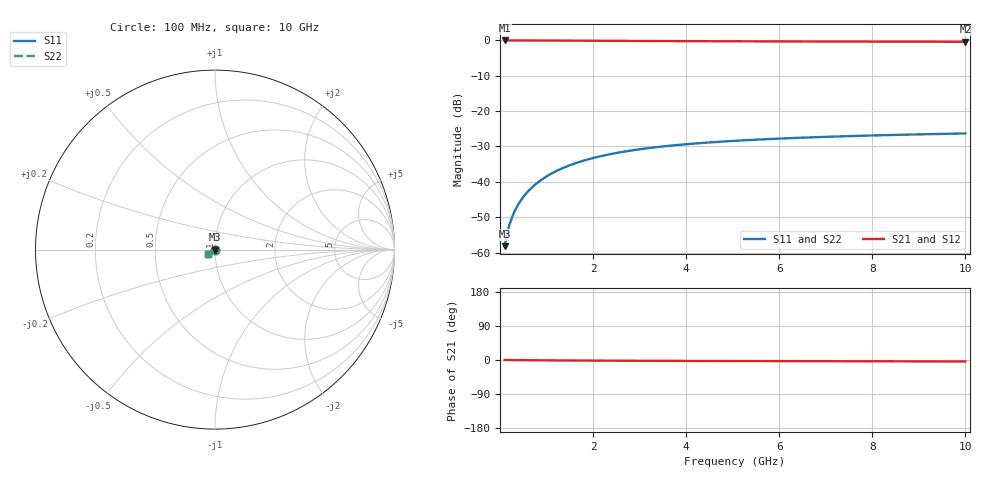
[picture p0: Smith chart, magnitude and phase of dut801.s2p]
! Touchstone file exported from HFSS 2024.1.0
!  File:  C:/UserFiles/LocalFiles/RDL_TSV_Batchsim/temp_TSV1_801_1779876513.aedt
!  Generated:  06:14:13 PM May 27, 2026
!  Design:  TSV1
!  Project:  temp_TSV1_801_1779876513
!  Setup:  Setup1
!  Solution:  Sweep
! Variables:
!  dtsv = 13.91um
!  hbump = 3um
!  htsv = 54.11um
!  lrdl = 252.1521522um
!  p = 40
!  p1 = 40.97um
!  t = 500um
!  trdl = 3um
!  wrdl = 24.89489489um
# GHz S MA R 50.000000
! Terminal data exported
! Port[1] = TSV22_T1
! Port[2] = TSV22_T2
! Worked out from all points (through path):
!   100 points, 100 MHz to 10 GHz, reference 50 ohm
!   highest |S21| = 0.00 dB at 100 MHz (marker M1); lowest = -0.4 dB at 10 GHz (marker M2)
!   lowest |S11| = -58.2 dB at 100 MHz (marker M3), VSWR 1.00, Z = 50 - j0.123 ohm
!   |S11| at or under -10 dB: start of sweep to end of sweep
!   |S22| runs from -58.2 to -26.3 dB; largest |S21 - S12| = 5e-15
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0.1  0.001229 -88.1  0.9999 -0.1  0.9999 -0.1  0.001229 -88.1
! Gamma 0 0 0 0
! Port Impedance 50 0 50 0
0.2  0.002456 -91.3  0.9998 -0.2  0.9998 -0.2  0.002456 -91.3
0.3  0.00368 -93.4  0.9996 -0.3  0.9996 -0.3  0.00368 -93.4
0.4  0.0049 -95.1  0.9994 -0.4  0.9994 -0.4  0.0049 -95.1
0.5  0.00611 -96.7  0.9991 -0.5  0.9991 -0.5  0.00611 -96.7
0.6  0.007307 -98.2  0.9988 -0.6  0.9988 -0.6  0.007307 -98.2
0.7  0.008489 -99.6  0.9984 -0.7  0.9984 -0.7  0.008489 -99.6
0.8  0.009652 -101.0  0.998 -0.7  0.998 -0.7  0.009652 -101.0
0.9  0.01079 -102.4  0.9975 -0.8  0.9975 -0.8  0.01079 -102.4
1.1  0.01301 -105.0  0.9964 -1.0  0.9964 -1.0  0.01301 -105.0
1.4  0.01615 -108.8  0.9946 -1.2  0.9946 -1.2  0.01615 -108.8
1.6  0.01811 -111.1  0.9932 -1.4  0.9932 -1.4  0.01811 -111.1
1.8  0.01996 -113.4  0.9918 -1.5  0.9918 -1.5  0.01996 -113.4
2.1  0.02252 -116.5  0.9897 -1.7  0.9897 -1.7  0.02252 -116.5
2.5  0.02557 -120.2  0.9869 -1.9  0.9869 -1.9  0.02557 -120.2
2.9  0.02824 -123.6  0.9842 -2.0  0.9842 -2.0  0.02824 -123.6
3.4  0.03112 -127.2  0.9811 -2.2  0.9811 -2.2  0.03112 -127.2
4.2  0.03487 -131.9  0.9767 -2.5  0.9767 -2.5  0.03487 -131.9
5.1  0.0382 -136.0  0.9725 -2.7  0.9725 -2.7  0.0382 -136.0
6.7  0.0426 -141.3  0.9667 -3.1  0.9667 -3.1  0.0426 -141.3
8.4  0.04595 -145.3  0.9622 -3.5  0.9622 -3.5  0.04595 -145.3
10  0.04831 -148.1  0.959 -3.8  0.959 -3.8  0.04831 -148.1
